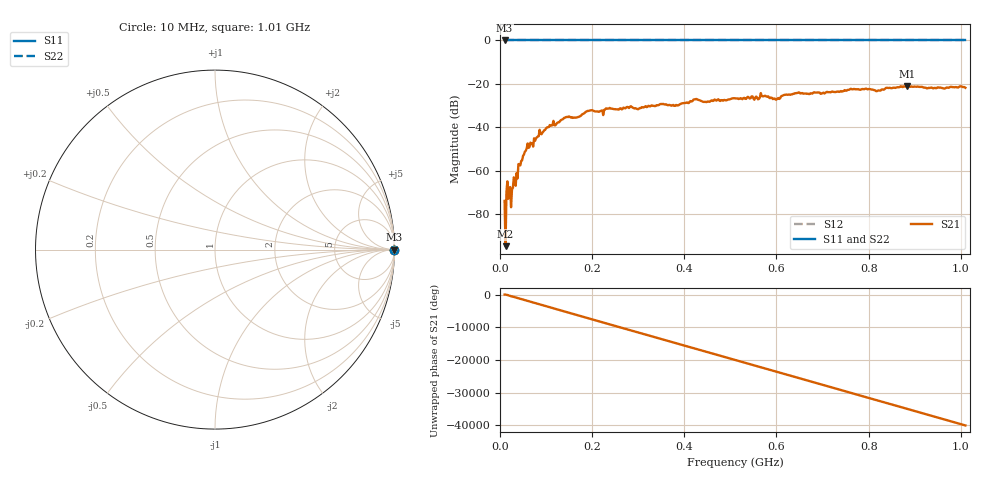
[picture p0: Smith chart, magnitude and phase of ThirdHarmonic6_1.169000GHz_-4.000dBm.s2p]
! 8/16/2025 11:48:29 AM
! C:\ANRITSUVNA\TEMP\TEMP.S2P
! CHANNEL.1
! TR.MEASUREMENT
! RAW.DATA
! RF.CORRECTION.OFF
! AVERAGING.OFF
! IF.BANDWIDTH: 5KHZ
! SWEEPTYPE:  FREQ.SWEEP(Linear)
! Reference Plane Port Info
! PORT:  PORT1  PORT2
! DISTANCE:  0  m  0  m
! TIME:  0  s  0  s
! PHASE.OFFSET:  0  deg.  0  deg.
! LOSS:  0  dB  0  dB
! REF.LOSS:  0  dB  0  dB
! REF.FREQ:  0  Hz  0  Hz
! Power Info
! POWER:  -20  dBm  -20  dBm
! EFF.POWER:  -20  dBm  -20  dBm
! SOURCE.ATTEN:  0  dB  0  dB
! TEST.ATTEN:  0  dB  0  dB
# GHZ S RI R 50.0
! FREQ.GHZ  S11RE  S11IM  S21RE  S21IM  S12RE  S12IM  S22RE  S22IM
!; PortSelection: Port_12
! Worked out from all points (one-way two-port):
!   501 points, 10 MHz to 1.01 GHz, reference 50 ohm
!   highest |S21| = -20.96 dB at 884 MHz (marker M1); lowest = -94.9 dB at 12 MHz (marker M2)
!   lowest |S11| = 0.0 dB at 10 MHz (marker M3)
!   |S11| at or under -10 dB: nowhere
!   |S22| runs from 0.0 to 0.0 dB; largest |S21 - S12| = 1.1
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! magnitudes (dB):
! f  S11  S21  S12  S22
! 10 MHz  0.0  -74.0  0.0  0.0
! 12 MHz  0.0  -94.9  0.0  0.0
! 16 MHz  0.0  -65.0  0.0  0.0
! 18 MHz  0.0  -73.0  0.0  0.0
! 22 MHz  0.0  -67.6  0.0  0.0
! 28 MHz  0.0  -68.0  0.0  0.0
! 44 MHz  0.0  -57.6  0.0  0.0
! 56 MHz  0.0  -50.9  0.0  0.0
! 82 MHz  0.0  -44.3  0.0  0.0
! 142 MHz  0.0  -35.5  0.0  0.0
! 178 MHz  0.0  -34.1  0.0  0.0
! 196 MHz  0.0  -32.3  0.0  0.0
! 344 MHz  0.0  -29.9  0.0  0.0
! 424 MHz  0.0  -27.1  0.0  0.0
! 510 MHz  0.0  -26.7  0.0  0.0
! 570 MHz  0.0  -25.8  0.0  0.0
! 602 MHz  0.0  -26.8  0.0  0.0
! 618 MHz  0.0  -25.0  0.0  0.0
! 678 MHz  0.0  -24.5  0.0  0.0
! 844 MHz  0.0  -21.9  0.0  0.0
! 884 MHz  0.0  -21.0  0.0  0.0
! 1.01 GHz  0.0  -21.8  0.0  0.0
